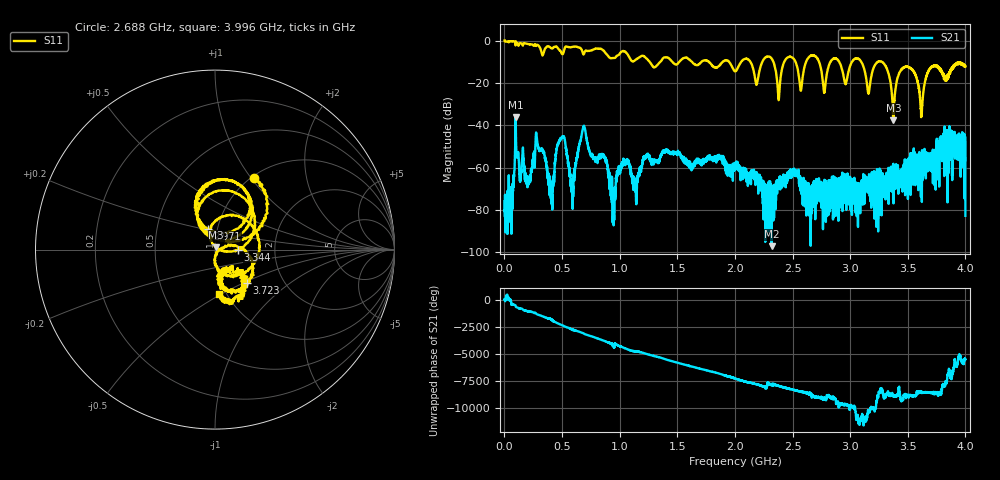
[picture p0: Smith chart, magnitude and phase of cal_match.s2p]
!Created with skrf (http://scikit-rf.org).
# GHz S RI R 50.0
!freq ReS11 ImS11 ReS21 ImS21 ReS12 ImS12 ReS22 ImS22
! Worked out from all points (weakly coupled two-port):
!   4000 points, 1 MHz to 4 GHz, reference 50 ohm
!   highest |S21| = -35.95 dB at 97 MHz (marker M1); lowest = -97.4 dB at 2.319 GHz (marker M2)
!   lowest |S11| = -37.5 dB at 3.376 GHz (marker M3), VSWR 1.03, Z = 50.6 + j1.21 ohm
!   |S11| at or under -10 dB: 1.78 GHz to 1.888 GHz (108.6 MHz wide, 5.92 % of centre); 3.1 GHz to 3.233 GHz (133.4 MHz wide, 4.21 % of centre); 3.282 GHz to 3.936 GHz (653.6 MHz wide, 18.1 % of centre) (the widest 3 of 14)
!   S12 and S22 are empty: the file has one direction only
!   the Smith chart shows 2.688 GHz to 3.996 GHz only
!   S11 on the Smith chart (normalised r, x): 2.688 GHz: 1.03, +1.03; 2.971 GHz: 0.90, +0.21; 3.344 GHz: 1.29, +0.00; 3.723 GHz: 1.32, -0.52; 3.996 GHz: 0.92, -0.49
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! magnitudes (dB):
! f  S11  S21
! 1 MHz  0.5  -75.9
! 97 MHz  -1.4  -36.0
! 206 MHz  -1.3  -66.4
! 289 MHz  -1.7  -49.5
! 408 MHz  -3.3  -70.1
! 505 MHz  -6.1  -45.3
! 588 MHz  -2.6  -69.5
! 668 MHz  -3.8  -45.0
! 946 MHz  -7.9  -71.4
! 1.334 GHz  -10.8  -58.0
! 2.001 GHz  -14.2  -60.8
! 2.319 GHz  -8.1  -97.4
! 2.667 GHz  -6.7  -81.6
! 2.688 GHz  -6.9  -69.1
! 2.971 GHz  -18.3  -63.2
! 3.334 GHz  -15.5  -77.3
! 3.344 GHz  -17.9  -63.7
! 3.376 GHz  -37.5  -77.1
! 3.723 GHz  -11.8  -59.6
! 3.907 GHz  -11.0  -43.0
! 3.996 GHz  -12.0  -57.2
! 4 GHz  -11.9  -83.0
